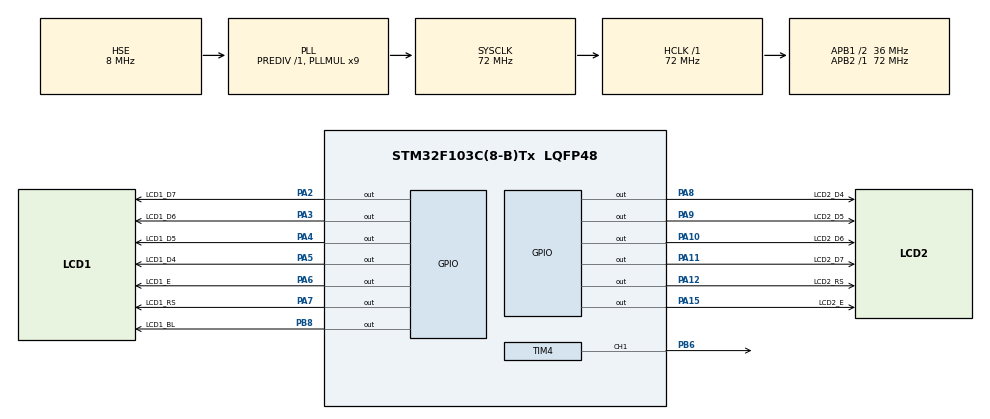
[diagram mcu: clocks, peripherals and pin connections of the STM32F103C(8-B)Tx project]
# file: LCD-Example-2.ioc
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Mcu.Family=STM32F1
Mcu.Name=STM32F103C(8-B)Tx
Mcu.Package=LQFP48
NVIC.PriorityGroup=NVIC_PRIORITYGROUP_4
PA10.GPIO_Label=LCD2_D6
PA10.GPIO_ModeDefaultOutputPP=GPIO_MODE_OUTPUT_PP
PA10.GPIO_PuPd=GPIO_NOPULL
PA10.GPIO_Speed=GPIO_SPEED_FREQ_HIGH
PA10.PinState=GPIO_PIN_RESET
PA10.Signal=GPIO_Output
PA11.GPIO_Label=LCD2_D7
PA11.GPIO_ModeDefaultOutputPP=GPIO_MODE_OUTPUT_PP
PA11.GPIO_PuPd=GPIO_NOPULL
PA11.GPIO_Speed=GPIO_SPEED_FREQ_HIGH
PA11.PinState=GPIO_PIN_RESET
PA11.Signal=GPIO_Output
PA12.GPIO_Label=LCD2_RS
PA12.GPIO_ModeDefaultOutputPP=GPIO_MODE_OUTPUT_PP
PA12.GPIO_PuPd=GPIO_NOPULL
PA12.GPIO_Speed=GPIO_SPEED_FREQ_HIGH
PA12.PinState=GPIO_PIN_RESET
PA12.Signal=GPIO_Output
PA13.Mode=Serial_Wire
PA13.Signal=SYS_JTMS-SWDIO
PA14.Mode=Serial_Wire
PA14.Signal=SYS_JTCK-SWCLK
PA15.GPIO_Label=LCD2_E
PA15.GPIO_ModeDefaultOutputPP=GPIO_MODE_OUTPUT_PP
PA15.GPIO_PuPd=GPIO_NOPULL
PA15.GPIO_Speed=GPIO_SPEED_FREQ_HIGH
PA15.PinState=GPIO_PIN_RESET
PA15.Signal=GPIO_Output
PA2.GPIO_Label=LCD1_D7
PA2.GPIO_ModeDefaultOutputPP=GPIO_MODE_OUTPUT_PP
PA2.GPIO_PuPd=GPIO_NOPULL
PA2.GPIO_Speed=GPIO_SPEED_FREQ_HIGH
PA2.PinState=GPIO_PIN_RESET
PA2.Signal=GPIO_Output
PA3.GPIO_Label=LCD1_D6
PA3.GPIO_ModeDefaultOutputPP=GPIO_MODE_OUTPUT_PP
PA3.GPIO_PuPd=GPIO_NOPULL
PA3.GPIO_Speed=GPIO_SPEED_FREQ_HIGH
PA3.PinState=GPIO_PIN_RESET
PA3.Signal=GPIO_Output
PA4.GPIO_Label=LCD1_D5
PA4.GPIO_ModeDefaultOutputPP=GPIO_MODE_OUTPUT_PP
PA4.GPIO_PuPd=GPIO_NOPULL
PA4.GPIO_Speed=GPIO_SPEED_FREQ_HIGH
PA4.PinState=GPIO_PIN_RESET
PA4.Signal=GPIO_Output
PA5.GPIO_Label=LCD1_D4
PA5.GPIO_ModeDefaultOutputPP=GPIO_MODE_OUTPUT_PP
PA5.GPIO_PuPd=GPIO_NOPULL
PA5.GPIO_Speed=GPIO_SPEED_FREQ_HIGH
PA5.PinState=GPIO_PIN_RESET
PA5.Signal=GPIO_Output
PA6.GPIO_Label=LCD1_E
PA6.GPIO_ModeDefaultOutputPP=GPIO_MODE_OUTPUT_PP
PA6.GPIO_PuPd=GPIO_NOPULL
PA6.GPIO_Speed=GPIO_SPEED_FREQ_HIGH
PA6.PinState=GPIO_PIN_RESET
PA6.Signal=GPIO_Output
PA7.GPIO_Label=LCD1_RS
PA7.GPIO_ModeDefaultOutputPP=GPIO_MODE_OUTPUT_PP
PA7.GPIO_PuPd=GPIO_NOPULL
PA7.GPIO_Speed=GPIO_SPEED_FREQ_HIGH
PA7.PinState=GPIO_PIN_RESET
PA7.Signal=GPIO_Output
PA8.GPIO_Label=LCD2_D4
PA8.GPIO_ModeDefaultOutputPP=GPIO_MODE_OUTPUT_PP
PA8.GPIO_PuPd=GPIO_NOPULL
PA8.GPIO_Speed=GPIO_SPEED_FREQ_HIGH
PA8.PinState=GPIO_PIN_RESET
PA8.Signal=GPIO_Output
PA9.GPIO_Label=LCD2_D5
PA9.GPIO_ModeDefaultOutputPP=GPIO_MODE_OUTPUT_PP
PA9.GPIO_PuPd=GPIO_NOPULL
PA9.GPIO_Speed=GPIO_SPEED_FREQ_HIGH
PA9.PinState=GPIO_PIN_RESET
PA9.Signal=GPIO_Output
PB6.Signal=S_TIM4_CH1
PB8.GPIO_Label=LCD1_BL
PB8.GPIO_Speed=GPIO_SPEED_FREQ_HIGH
PB8.PinState=GPIO_PIN_SET
PB8.Signal=GPIO_Output
PD0-OSC_IN.Mode=HSE-External-Oscillator
PD0-OSC_IN.Signal=RCC_OSC_IN
PD1-OSC_OUT.Mode=HSE-External-Oscillator
PD1-OSC_OUT.Signal=RCC_OSC_OUT
ProjectManager.HeapSize=0x200
ProjectManager.StackSize=0x400
ProjectManager.TargetToolchain=STM32CubeIDE
RCC.AHBFreq_Value=72000000
RCC.APB1CLKDivider=RCC_HCLK_DIV2
RCC.APB1Freq_Value=36000000
RCC.APB1TimFreq_Value=72000000
RCC.APB2Freq_Value=72000000
RCC.APB2TimFreq_Value=72000000
RCC.HCLKFreq_Value=72000000
RCC.PLLMUL=RCC_PLL_MUL9
RCC.PLLSourceVirtual=RCC_PLLSOURCE_HSE
RCC.SYSCLKFreq_VALUE=72000000
RCC.SYSCLKSource=RCC_SYSCLKSOURCE_PLLCLK
RCC.USBFreq_Value=72000000
SH.S_TIM4_CH1.0=TIM4_CH1,PWM Generation1 CH1
TIM4.Channel-PWM\ Generation1\ CH1=TIM_CHANNEL_1
TIM4.Period=100
TIM4.Prescaler=1499
VP_TIM4_VS_ClockSourceINT.Mode=Internal
board=custom

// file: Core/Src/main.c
/* USER CODE BEGIN Header */
/**
  ******************************************************************************
  * @file           : main.c
  * @brief          : Main program body
  ******************************************************************************
  * @attention
  *
  * Copyright (c) 2023 STMicroelectronics.
  * All rights reserved.
  *
  * This software is licensed under terms that can be found in the LICENSE file
  * in the root directory of this software component.
  * If no LICENSE file comes with this software, it is provided AS-IS.
  *
  ******************************************************************************
  */
/* USER CODE END Header */
#include "main.h"

/* USER CODE BEGIN Includes */
#include <stdio.h>

#include "lcdDisplay.h"
/* USER CODE END Includes */

TIM_HandleTypeDef htim4;

/* USER CODE BEGIN PV */
lcd_t Lcd1, Lcd2;

uint8_t arrow1[8] = { 0x00, 0x04, 0x06, 0x1F, 0x1F, 0x06, 0x04, 0x00 };
// 0 0 0 0 0 0 0 0
// 0 0 0 0 0 1 0 0
// 0 0 0 0 0 1 1 0
// 0 0 0 1 1 1 1 1
// 0 0 0 1 1 1 1 1
// 0 0 0 0 0 1 1 0
// 0 0 0 0 0 1 0 0
// 0 0 0 0 0 0 0 0

uint8_t arrow2[8] = { 0x00, 0x04, 0x0C, 0x1F, 0x1F, 0x0C, 0x04, 0x00 };
/* USER CODE END PV */

void SystemClock_Config(void);
static void MX_GPIO_Init(void);
static void MX_TIM4_Init(void);

/* USER CODE BEGIN 0 */
void __lcd1_init(){
	Lcd1.columns = 16;
	Lcd1.rows = 2;
	Lcd1.font = LCD_FONT_5X8;
	Lcd1.interface = LCD_INTERFACE_4BIT;
	Lcd1.backlightGpio.GPIO = (uint32_t)LCD1_BL_GPIO_Port;
	Lcd1.backlightGpio.pin = LCD1_BL_Pin;

	Lcd1.gpios[LCD_RS].GPIO = (uint32_t)LCD1_RS_GPIO_Port;
	Lcd1.gpios[LCD_RS].pin = LCD1_RS_Pin;
	Lcd1.gpios[LCD_E].GPIO = (uint32_t)LCD1_E_GPIO_Port;
	Lcd1.gpios[LCD_E].pin = LCD1_E_Pin;
	Lcd1.gpios[LCD_D4].GPIO = (uint32_t)LCD1_D4_GPIO_Port;
	Lcd1.gpios[LCD_D4].pin = LCD1_D4_Pin;
	Lcd1.gpios[LCD_D5].GPIO = (uint32_t)LCD1_D5_GPIO_Port;
	Lcd1.gpios[LCD_D5].pin = LCD1_D5_Pin;
	Lcd1.gpios[LCD_D6].GPIO = (uint32_t)LCD1_D6_GPIO_Port;
	Lcd1.gpios[LCD_D6].pin = LCD1_D6_Pin;
	Lcd1.gpios[LCD_D7].GPIO = (uint32_t)LCD1_D7_GPIO_Port;
	Lcd1.gpios[LCD_D7].pin = LCD1_D7_Pin;

	lcd_init(&Lcd1);
	lcd_backlight_set(&Lcd1, LCD_BACKLIGHT_ON);
}

void __lcd2_init(){
	int i;

	Lcd2.columns = 16;
	Lcd2.rows = 2;
	Lcd2.font = LCD_FONT_5X8;
	Lcd2.interface = LCD_INTERFACE_4BIT;
	Lcd2.backlightGpio.GPIO = (uint32_t)LCD1_BL_GPIO_Port;
	Lcd2.backlightGpio.pin = LCD1_BL_Pin;
	Lcd2.backlightPwm.Channel = TIM_CHANNEL_1;
	Lcd2.backlightPwm.Peripheral = (uint32_t)&htim4;

	Lcd2.gpios[LCD_RS].GPIO = (uint32_t)LCD2_RS_GPIO_Port;
	Lcd2.gpios[LCD_RS].pin = LCD2_RS_Pin;
	Lcd2.gpios[LCD_E].GPIO = (uint32_t)LCD2_E_GPIO_Port;
	Lcd2.gpios[LCD_E].pin = LCD2_E_Pin;
	Lcd2.gpios[LCD_D4].GPIO = (uint32_t)LCD2_D4_GPIO_Port;
	Lcd2.gpios[LCD_D4].pin = LCD2_D4_Pin;
	Lcd2.gpios[LCD_D5].GPIO = (uint32_t)LCD2_D5_GPIO_Port;
	Lcd2.gpios[LCD_D5].pin = LCD2_D5_Pin;
	Lcd2.gpios[LCD_D6].GPIO = (uint32_t)LCD2_D6_GPIO_Port;
	Lcd2.gpios[LCD_D6].pin = LCD2_D6_Pin;
	Lcd2.gpios[LCD_D7].GPIO = (uint32_t)LCD2_D7_GPIO_Port;
	Lcd2.gpios[LCD_D7].pin = LCD2_D7_Pin;

	lcd_init(&Lcd2);
	for (i=0 ; i<100 ; i++){
		lcd_backlight_set_bright(&Lcd2, i);
		HAL_Delay(10);
	}
}

void __lcd1_creat_custom_char(){
	lcd_create_custom_char(&Lcd1, LCD_CUSTOM_1, arrow1);
	lcd_create_custom_char(&Lcd1, LCD_CUSTOM_2, arrow1);
}

void __lcd2_creat_custom_char(){
	lcd_create_custom_char(&Lcd2, LCD_CUSTOM_1, arrow2);
	lcd_create_custom_char(&Lcd2, LCD_CUSTOM_2, arrow2);
}
/* USER CODE END 0 */

int main(void)
{
  /* USER CODE BEGIN 1 */
	char Text[17];
	int Cnt;
	float CntFl;
  /* USER CODE END 1 */

  /* MCU Configuration--------------------------------------------------------*/

  /* Reset of all peripherals, Initializes the Flash interface and the Systick. */
  HAL_Init();

  /* Configure the system clock */
  SystemClock_Config();

  /* USER CODE BEGIN SysInit */
  HAL_Delay(250);
  /* USER CODE END SysInit */

  /* Initialize all configured peripherals */
  MX_GPIO_Init();
  MX_TIM4_Init();
  /* USER CODE BEGIN 2 */
  HAL_TIM_PWM_Start(&htim4, TIM_CHANNEL_1);

  __lcd1_init();
  __lcd2_init();

  __lcd1_creat_custom_char();
  __lcd2_creat_custom_char();

  lcd_send_char_pos(&Lcd1, LCD_CUSTOM_1, 0, 0);
  lcd_send_string_pos(&Lcd1, "Hello Lcd1", 0, 1);
  lcd_send_char(&Lcd1, LCD_CUSTOM_2);

  lcd_send_char_pos(&Lcd2, LCD_CUSTOM_1, 0, 0);
  lcd_send_string_pos(&Lcd2, "Hello Lcd2", 0, 1);
  lcd_send_char(&Lcd2, LCD_CUSTOM_2);
  /* USER CODE END 2 */

  /* Infinite loop */
  /* USER CODE BEGIN WHILE */
  Cnt = 0;
  CntFl = 0.0f;
  while (1)
  {
	  sprintf(Text, "Contador: %d", Cnt);
	  lcd_send_string_pos(&Lcd1, Text, 1, 0);

	  sprintf(Text, "Contador: %.2f", CntFl);
	  lcd_send_string_pos(&Lcd2, Text, 1, 0);

	  Cnt++;
	  CntFl += 0.5f;
	  HAL_Delay(500);
    /* USER CODE END WHILE */

  }
}

void SystemClock_Config(void)
{
  RCC_OscInitTypeDef RCC_OscInitStruct = {0};
  RCC_ClkInitTypeDef RCC_ClkInitStruct = {0};

  /** Initializes the RCC Oscillators according to the specified parameters
  * in the RCC_OscInitTypeDef structure.
  */
  RCC_OscInitStruct.OscillatorType = RCC_OSCILLATORTYPE_HSE;
  RCC_OscInitStruct.HSEState = RCC_HSE_ON;
  RCC_OscInitStruct.HSEPredivValue = RCC_HSE_PREDIV_DIV1;
  RCC_OscInitStruct.HSIState = RCC_HSI_ON;
  RCC_OscInitStruct.PLL.PLLState = RCC_PLL_ON;
  RCC_OscInitStruct.PLL.PLLSource = RCC_PLLSOURCE_HSE;
  RCC_OscInitStruct.PLL.PLLMUL = RCC_PLL_MUL9;
  if (HAL_RCC_OscConfig(&RCC_OscInitStruct) != HAL_OK)
  {
    Error_Handler();
  }

  /** Initializes the CPU, AHB and APB buses clocks
  */
  RCC_ClkInitStruct.ClockType = RCC_CLOCKTYPE_HCLK|RCC_CLOCKTYPE_SYSCLK
                              |RCC_CLOCKTYPE_PCLK1|RCC_CLOCKTYPE_PCLK2;
  RCC_ClkInitStruct.SYSCLKSource = RCC_SYSCLKSOURCE_PLLCLK;
  RCC_ClkInitStruct.AHBCLKDivider = RCC_SYSCLK_DIV1;
  RCC_ClkInitStruct.APB1CLKDivider = RCC_HCLK_DIV2;
  RCC_ClkInitStruct.APB2CLKDivider = RCC_HCLK_DIV1;

  if (HAL_RCC_ClockConfig(&RCC_ClkInitStruct, FLASH_LATENCY_2) != HAL_OK)
  {
    Error_Handler();
  }
}

static void MX_TIM4_Init(void)
{

  TIM_ClockConfigTypeDef sClockSourceConfig = {0};
  TIM_MasterConfigTypeDef sMasterConfig = {0};
  TIM_OC_InitTypeDef sConfigOC = {0};

  htim4.Instance = TIM4;
  htim4.Init.Prescaler = 1499;
  htim4.Init.CounterMode = TIM_COUNTERMODE_UP;
  htim4.Init.Period = 100;
  htim4.Init.ClockDivision = TIM_CLOCKDIVISION_DIV1;
  htim4.Init.AutoReloadPreload = TIM_AUTORELOAD_PRELOAD_DISABLE;
  if (HAL_TIM_Base_Init(&htim4) != HAL_OK)
  {
    Error_Handler();
  }
  sClockSourceConfig.ClockSource = TIM_CLOCKSOURCE_INTERNAL;
  if (HAL_TIM_ConfigClockSource(&htim4, &sClockSourceConfig) != HAL_OK)
  {
    Error_Handler();
  }
  if (HAL_TIM_PWM_Init(&htim4) != HAL_OK)
  {
    Error_Handler();
  }
  sMasterConfig.MasterOutputTrigger = TIM_TRGO_RESET;
  sMasterConfig.MasterSlaveMode = TIM_MASTERSLAVEMODE_DISABLE;
  if (HAL_TIMEx_MasterConfigSynchronization(&htim4, &sMasterConfig) != HAL_OK)
  {
    Error_Handler();
  }
  sConfigOC.OCMode = TIM_OCMODE_PWM1;
  sConfigOC.Pulse = 0;
  sConfigOC.OCPolarity = TIM_OCPOLARITY_HIGH;
  sConfigOC.OCFastMode = TIM_OCFAST_DISABLE;
  if (HAL_TIM_PWM_ConfigChannel(&htim4, &sConfigOC, TIM_CHANNEL_1) != HAL_OK)
  {
    Error_Handler();
  }
  HAL_TIM_MspPostInit(&htim4);

}

static void MX_GPIO_Init(void)
{
  GPIO_InitTypeDef GPIO_InitStruct = {0};

  /* GPIO Ports Clock Enable */
  __HAL_RCC_GPIOD_CLK_ENABLE();
  __HAL_RCC_GPIOA_CLK_ENABLE();
  __HAL_RCC_GPIOB_CLK_ENABLE();

  /*Configure GPIO pin Output Level */
  HAL_GPIO_WritePin(GPIOA, LCD1_D7_Pin|LCD1_D6_Pin|LCD1_D5_Pin|LCD1_D4_Pin
                          |LCD1_E_Pin|LCD1_RS_Pin|LCD2_D4_Pin|LCD2_D5_Pin
                          |LCD2_D6_Pin|LCD2_D7_Pin|LCD2_RS_Pin|LCD2_E_Pin, GPIO_PIN_RESET);

  /*Configure GPIO pin Output Level */
  HAL_GPIO_WritePin(LCD1_BL_GPIO_Port, LCD1_BL_Pin, GPIO_PIN_SET);

  /*Configure GPIO pins : LCD1_D7_Pin LCD1_D6_Pin LCD1_D5_Pin LCD1_D4_Pin
                           LCD1_E_Pin LCD1_RS_Pin LCD2_D4_Pin LCD2_D5_Pin
                           LCD2_D6_Pin LCD2_D7_Pin LCD2_RS_Pin LCD2_E_Pin */
  GPIO_InitStruct.Pin = LCD1_D7_Pin|LCD1_D6_Pin|LCD1_D5_Pin|LCD1_D4_Pin
                          |LCD1_E_Pin|LCD1_RS_Pin|LCD2_D4_Pin|LCD2_D5_Pin
                          |LCD2_D6_Pin|LCD2_D7_Pin|LCD2_RS_Pin|LCD2_E_Pin;
  GPIO_InitStruct.Mode = GPIO_MODE_OUTPUT_PP;
  GPIO_InitStruct.Pull = GPIO_NOPULL;
  GPIO_InitStruct.Speed = GPIO_SPEED_FREQ_HIGH;
  HAL_GPIO_Init(GPIOA, &GPIO_InitStruct);

  /*Configure GPIO pin : LCD1_BL_Pin */
  GPIO_InitStruct.Pin = LCD1_BL_Pin;
  GPIO_InitStruct.Mode = GPIO_MODE_OUTPUT_PP;
  GPIO_InitStruct.Pull = GPIO_NOPULL;
  GPIO_InitStruct.Speed = GPIO_SPEED_FREQ_HIGH;
  HAL_GPIO_Init(LCD1_BL_GPIO_Port, &GPIO_InitStruct);

}

void Error_Handler(void)
{
  __disable_irq();
  while (1)
  {
  }
}
